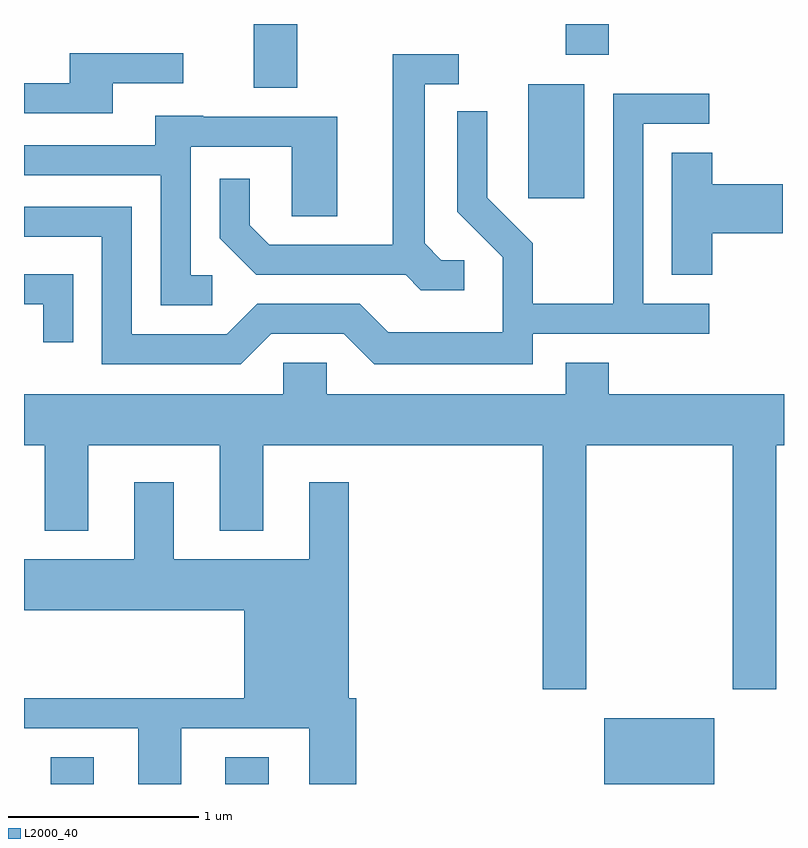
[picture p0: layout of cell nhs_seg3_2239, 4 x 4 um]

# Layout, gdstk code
import gdstk
lib = gdstk.Library(unit=1e-6, precision=1e-09)
def R(c, l, rs):  # rectangles x0, y0, x1, y1
    for r in rs: c.add(gdstk.rectangle(r[:2], r[2:], *l))
def P(c, l, *ps):  # polygons
    for p in ps: c.add(gdstk.Polygon(p, *l))
L2000_40 = (2000, 40)

nhs_seg3_2239 = lib.new_cell('nhs_seg3_2239')
R(nhs_seg3_2239, L2000_40, [(249.751,1241.892,249.979,1242.034), (250.671,1241.892,250.899,1242.034), (252.666,1241.892,253.244,1242.239), (252.266,1244.976,252.559,1245.574), (250.821,1245.556,251.049,1245.892), (252.461,1245.731,252.689,1245.892)])
P(nhs_seg3_2239, L2000_40, [(250.079,1245.581),(250.448,1245.581),(250.448,1245.739),(249.851,1245.739),(249.851,1245.579),(249.611,1245.579),(249.611,1245.421),(250.079,1245.421)],
  [(251.928,1244.649),(251.807,1244.649),(251.719,1244.737),(251.719,1245.576),(251.898,1245.576),(251.898,1245.734),(251.551,1245.734),(251.551,1244.729),(250.902,1244.729),(250.799,1244.832),(250.799,1245.078),(250.641,1245.078),(250.641,1244.764),(250.834,1244.571),(251.619,1244.571),(251.699,1244.491),(251.928,1244.491)],
  [(250.912,1244.261),(251.294,1244.261),(251.454,1244.101),(252.289,1244.101),(252.289,1244.261),(253.218,1244.261),(253.218,1244.419),(252.869,1244.419),(252.869,1245.366),(253.218,1245.366),(253.218,1245.524),(252.711,1245.524),(252.711,1244.419),(252.289,1244.419),(252.289,1244.737),(252.049,1244.977),(252.049,1245.433),(251.891,1245.433),(251.891,1244.904),(252.131,1244.664),(252.131,1244.269),(251.527,1244.269),(251.377,1244.419),(250.839,1244.419),(250.679,1244.259),(250.179,1244.259),(250.179,1244.929),(249.611,1244.929),(249.611,1244.771),(250.021,1244.771),(250.021,1244.101),(250.752,1244.101)],
  [(250.603,1244.569),(250.489,1244.569),(250.489,1245.246),(251.021,1245.246),(251.021,1244.881),(251.259,1244.881),(251.259,1245.404),(250.555,1245.404),(250.555,1245.409),(250.301,1245.409),(250.301,1245.254),(249.611,1245.254),(249.611,1245.096),(250.331,1245.096),(250.331,1244.411),(250.603,1244.411)],
  [(253.234,1244.791),(253.604,1244.791),(253.604,1245.049),(253.234,1245.049),(253.234,1245.214),(253.021,1245.214),(253.021,1244.571),(253.234,1244.571)],
  [(249.869,1244.574),(249.611,1244.574),(249.611,1244.416),(249.711,1244.416),(249.711,1244.218),(249.869,1244.218)],
  [(252.461,1244.109),(252.461,1243.944),(251.204,1243.944),(251.204,1244.109),(250.976,1244.109),(250.976,1243.944),(249.611,1243.944),(249.611,1243.676),(249.721,1243.676),(249.721,1243.226),(249.949,1243.226),(249.949,1243.676),(250.641,1243.676),(250.641,1243.226),(250.869,1243.226),(250.869,1243.676),(252.341,1243.676),(252.341,1242.391),(252.569,1242.391),(252.569,1243.676),(253.341,1243.676),(253.341,1242.391),(253.569,1242.391),(253.569,1243.676),(253.611,1243.676),(253.611,1243.944),(252.689,1243.944),(252.689,1244.109)],
  [(250.439,1242.186),(251.111,1242.186),(251.111,1241.892),(251.359,1241.892),(251.359,1242.344),(251.319,1242.344),(251.319,1243.479),(251.111,1243.479),(251.111,1243.074),(250.399,1243.074),(250.399,1243.479),(250.191,1243.479),(250.191,1243.074),(249.611,1243.074),(249.611,1242.806),(250.771,1242.806),(250.771,1242.344),(249.611,1242.344),(249.611,1242.186),(250.211,1242.186),(250.211,1241.892),(250.439,1241.892)])

lib.write_gds('nhs_seg3_2239.gds')
